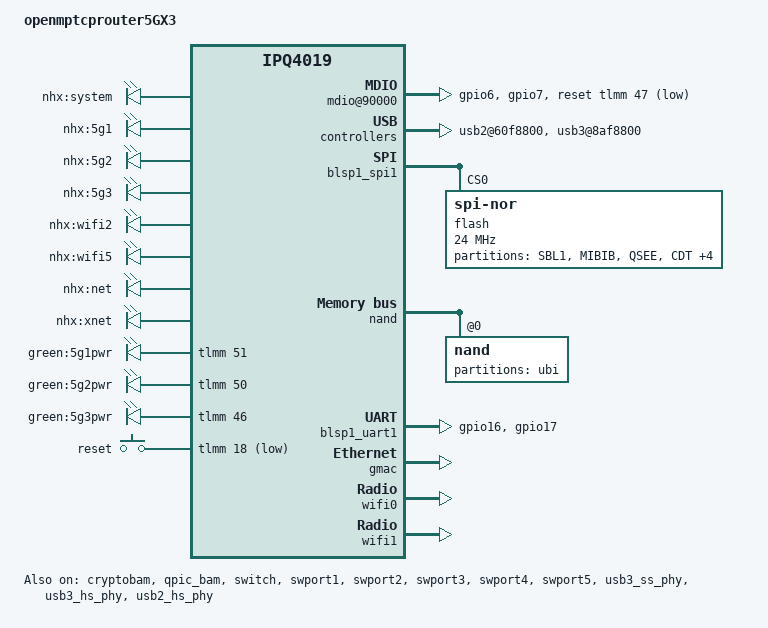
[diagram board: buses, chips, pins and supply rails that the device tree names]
// SPDX-License-Identifier: GPL-2.0-or-later OR MIT

#include "qcom-ipq4019.dtsi"
#include <dt-bindings/gpio/gpio.h>
#include <dt-bindings/input/input.h>
#include <dt-bindings/soc/qcom,tcsr.h>
#include <dt-bindings/leds/common.h>

/ {
	model = "openmptcprouter5GX3";
	compatible = "nhx,nhx4019";

	chosen {
		bootargs-append = " ubi.mtd=ubi root=/dev/ubiblock0_1";
	};

	aliases {
		led-boot = &led_sys;
		led-failsafe = &led_sys;
		led-running = &led_sys;
		led-upgrade = &led_sys;
	};

	soc {
		rng@22000 {
			status = "okay";
		};

		mdio@90000 {
			status = "okay";
			pinctrl-0 = <&mdio_pins>;
			pinctrl-names = "default";
			reset-gpios = <&tlmm 47 GPIO_ACTIVE_LOW>;
			reset-delay-us = <2000>;
		};

		tcsr@1949000 {
			compatible = "qcom,tcsr";
			reg = <0x1949000 0x100>;
			qcom,wifi_glb_cfg = <TCSR_WIFI_GLB_CFG>;
		};

		tcsr@194b000 {
			compatible = "qcom,tcsr";
			reg = <0x194b000 0x100>;
			qcom,usb-hsphy-mode-select = <TCSR_USB_HSPHY_HOST_MODE>;
		};

		ess_tcsr@1953000 {
			compatible = "qcom,tcsr";
			reg = <0x1953000 0x1000>;
			qcom,ess-interface-select = <TCSR_ESS_PSGMII>;
		};

		tcsr@1957000 {
			compatible = "qcom,tcsr";
			reg = <0x1957000 0x100>;
			qcom,wifi_noc_memtype_m0_m2 = <TCSR_WIFI_NOC_MEMTYPE_M0_M2>;
		};

		usb2@60f8800 {
			status = "okay";
		};

		usb3@8af8800 {
			status = "okay";
		};

		crypto@8e3a000 {
			status = "okay";
		};

		watchdog@b017000 {
			status = "okay";
		};
	};

	leds {
		compatible = "gpio-leds";

        	led_sys: status {
			label = "nhx:system";
			gpio = <&tlmm 4 GPIO_ACTIVE_HIGH>;
		};

		lte1 {
			label = "nhx:5g1";
			gpio = <&tlmm 3 GPIO_ACTIVE_HIGH>;
		};

		lterssi1 {
			label = "nhx:5g2";
			gpio = <&tlmm 2 GPIO_ACTIVE_HIGH>;
		};

		lterssi2 {
			label = "nhx:5g3";
			gpio = <&tlmm 1 GPIO_ACTIVE_HIGH>;
		};

		lterssi3 {
			label = "nhx:wifi2";
			gpio = <&tlmm 36 GPIO_ACTIVE_HIGH>;
		};

		wifi {
			label = "nhx:wifi5";
			gpio = <&tlmm 37 GPIO_ACTIVE_HIGH>;
		};

		err {
			label = "nhx:net";
			gpio = <&tlmm 44 GPIO_ACTIVE_HIGH>;
		};

		net {
			label = "nhx:xnet";
			gpio = <&tlmm 0 GPIO_ACTIVE_HIGH>;
		};

		5g1pwr {
			label = "green:5g1pwr ";
			gpios = <&tlmm 51 GPIO_ACTIVE_HIGH>;
		};

		5g2pwr  {
			label = "green:5g2pwr ";
			gpios = <&tlmm 50 GPIO_ACTIVE_HIGH>;
		};

		5g3pwr  {
			label = "green:5g3pwr";
			gpios = <&tlmm 46 GPIO_ACTIVE_HIGH>;
		};   
	};

	keys {
		compatible = "gpio-keys";

		reset {
			label = "reset";
			gpios = <&tlmm 18 GPIO_ACTIVE_LOW>;
			linux,code = <KEY_RESTART>;
		};
	};
};

&blsp_dma {
	status = "okay";
};

&blsp1_spi1 {
	status = "okay";

	flash@0 {
		reg = <0>;
		compatible = "jedec,spi-nor";
		spi-max-frequency = <24000000>;

		partitions {
			compatible = "fixed-partitions";
			#address-cells = <1>;
			#size-cells = <1>;

			partition@0 {
				label = "SBL1";
				reg = <0x0 0x40000>;
				read-only;
			};

			partition@40000 {
				label = "MIBIB";
				reg = <0x40000 0x20000>;
				read-only;
			};

			partition@60000 {
				label = "QSEE";
				reg = <0x60000 0x60000>;
				read-only;
			};

			partition@c0000 {
				label = "CDT";
				reg = <0xc0000 0x10000>;
				read-only;
			};

			partition@d0000 {
				label = "DDRPARAMS";
				reg = <0xd0000 0x10000>;
				read-only;
			};

			partition@e0000 {
				label = "APPSBLENV";
				reg = <0xe0000 0x10000>;
				read-only;
			};

			partition@f0000 {
				label = "APPSBL";
				reg = <0xf0000 0x80000>;
				read-only;
			};

			partition@170000 {
				label = "ART";
				reg = <0x170000 0x10000>;
				read-only;
				compatible = "nvmem-cells";
				#address-cells = <1>;
				#size-cells = <1>;

				precal_art_1000: precal@1000 {
					reg = <0x1000 0x2f20>;
				};

				precal_art_5000: precal@5000 {
					reg = <0x5000 0x2f20>;
				};

				macaddr_art_0: macaddr@0 {
					reg = <0x0 0x6>;
				};

				macaddr_art_6: macaddr@6 {
					reg = <0x6 0x6>;
				};
			};
		};
	};
};

&nand {
	status = "okay";

	nand@0 {
		partitions {
			compatible = "fixed-partitions";
			#address-cells = <1>;
			#size-cells = <1>;

			nand_rootfs: partition@0 {
				label = "ubi";
				reg = <0x0 0x8000000>;
			};
		};
	};
};

&blsp1_uart1 {
	pinctrl-0 = <&serial_0_pins>;
	pinctrl-names = "default";
	status = "okay";
};

&cryptobam {
	status = "okay";
};

&qpic_bam {
	status = "okay";
};

&tlmm {
	pinctrl-0 = <&power_pins>;
	pinctrl-names = "default";

	mdio_pins: mdio_pinmux {
		mux_1 {
			pins = "gpio6";
			function = "mdio";
			bias-pull-up;
		};

		mux_2 {
			pins = "gpio7";
			function = "mdc";
			bias-pull-up;
		};
	};

	serial_0_pins: serial0-pinmux {
		mux {
			pins = "gpio16", "gpio17";
			function = "blsp_uart0";
			bias-disable;
		};
	};

	power_pins: power_pinmux {
		3v_pwr_en {
			pins = "gpio19";
			function = "gpio";
			drive-strength = <2>;
			bias-pull-up;
			output-high;
		};

		m2_pwr_en {
			pins = "gpio48";
			function = "gpio";
			drive-strength = <2>;
			bias-pull-down;
			output-low;
		};

		m2_reset {
			pins = "gpio49";
			function = "gpio";
			drive-strength = <2>;
			bias-pull-down;
			output-low;
		};

		m2_dc_en {
			pins = "gpio51";
			function = "gpio";
			drive-strength = <2>;
			bias-pull-up;
			output-high;
		};

		pcie1_dc_en {
			pins = "gpio50";
			function = "gpio";
			drive-strength = <2>;
			bias-pull-up;
			output-high;
		};

		pcie1_reset {
			pins = "gpio42";
			function = "gpio";
			drive-strength = <2>;
			bias-pull-down;
			output-low;
		};

		pcie2_dc_en {
			pins = "gpio46";
			function = "gpio";
			drive-strength = <2>;
			bias-pull-up;
			output-high;
		};

		pcie2_reset {
			pins = "gpio43";
			function = "gpio";
			drive-strength = <2>;
			bias-pull-down;
			output-low;
		};
	};
};

&gmac {
	status = "okay";
};

&switch {
	status = "okay";
};

&swport1 {
	status = "okay";

	nvmem-cells = <&macaddr_art_0>;
	nvmem-cell-names = "mac-address";
};

&swport2 {
	status = "okay";

	nvmem-cells = <&macaddr_art_0>;
	nvmem-cell-names = "mac-address";
};

&swport3 {
	status = "okay";

	nvmem-cells = <&macaddr_art_0>;
	nvmem-cell-names = "mac-address";
};

&swport4 {
	status = "okay";

	nvmem-cells = <&macaddr_art_0>;
	nvmem-cell-names = "mac-address";
};

&swport5 {
	status = "okay";

	nvmem-cells = <&macaddr_art_6>;
	nvmem-cell-names = "mac-address";
};

&usb3_ss_phy {
	status = "okay";
};

&usb3_hs_phy {
	status = "okay";
};

&usb2_hs_phy {
	status = "okay";
};

&wifi0 {
	status = "okay";

	nvmem-cell-names = "pre-calibration", "mac-address";
	nvmem-cells = <&precal_art_1000>, <&macaddr_art_0>;
};

&wifi1 {
	status = "okay";

	nvmem-cell-names = "pre-calibration", "mac-address";
	nvmem-cells = <&precal_art_5000>, <&macaddr_art_0>;

};
